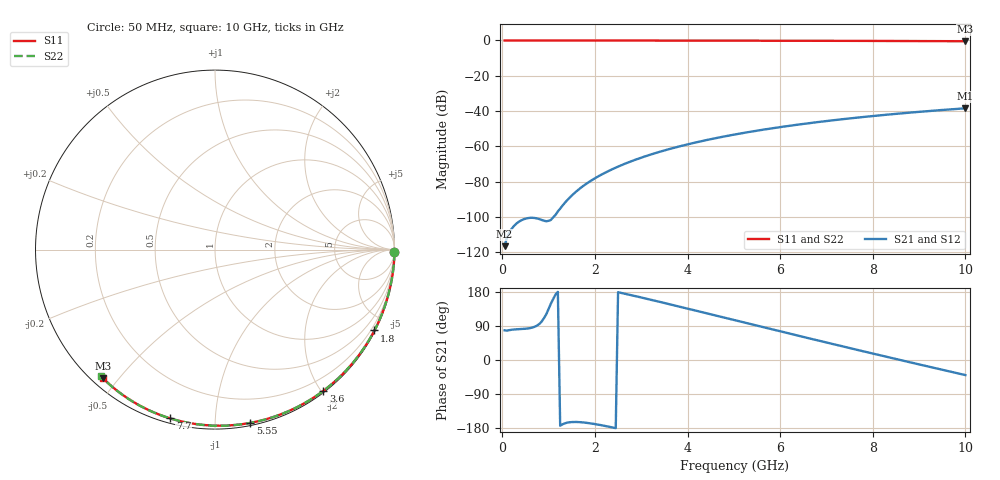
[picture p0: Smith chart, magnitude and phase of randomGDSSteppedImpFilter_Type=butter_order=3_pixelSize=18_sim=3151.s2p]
! freq	dB(S11)	phase(S11)	dB(S12)	phase(S12)
!  dB(S21)	phase(S21)	dB(S22)	phase(S22)
!S-par simulation data
#  GHz  S  DB  R 50
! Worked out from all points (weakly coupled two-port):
!   200 points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, 50 MHz to 10 GHz, reference 50 ohm
!   highest |S21| = -38.38 dB at 10 GHz (marker M1); lowest = -116.4 dB at 50 MHz (marker M2)
!   lowest |S11| = -0.4 dB at 10 GHz (marker M3), VSWR 39.09, Z = 1.54 - j22.7 ohm
!   |S11| at or under -10 dB: nowhere
!   |S22| runs from -0.4 to 0.0 dB; largest |S21 - S12| = 0
!   S11 on the Smith chart (normalised r, x): 50 MHz: open; 1.8 GHz: 0.04, -4.18; 3.6 GHz: 0.02, -2.02; 5.55 GHz: 0.02, -1.22; 7.7 GHz: 0.02, -0.77; 10 GHz: 0.03, -0.45
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0.05  -0.00 -0.8  -116.42 78.3  -116.42 78.3  -0.00 -0.8
0.9  -0.02 -13.6  -102.03 110.6  -102.03 110.6  -0.02 -13.7
1.75  -0.03 -26.1  -82.30 -164.8  -82.30 -164.8  -0.03 -26.3
1.8  -0.03 -26.9  -81.37 -165.5  -81.37 -165.5  -0.03 -27.1
1.85  -0.04 -27.6  -80.48 -166.3  -80.48 -166.3  -0.04 -27.8
1.9  -0.04 -28.3  -79.62 -167.1  -79.62 -167.1  -0.04 -28.5
2.05  -0.04 -30.5  -77.25 -170.1  -77.25 -170.1  -0.04 -30.7
2.25  -0.04 -33.4  -74.44 -174.8  -74.44 -174.8  -0.04 -33.7
2.45  -0.05 -36.3  -71.97 -179.8  -71.97 -179.8  -0.05 -36.6
2.65  -0.05 -39.2  -69.75 174.8  -69.75 174.8  -0.05 -39.5
3  -0.06 -44.2  -66.34 165.0  -66.34 165.0  -0.06 -44.5
3.4  -0.07 -49.8  -63.00 153.4  -63.00 153.4  -0.07 -50.1
3.6  -0.07 -52.6  -61.51 147.5  -61.51 147.5  -0.07 -52.9
4.3  -0.09 -62.1  -57.00 126.6  -57.00 126.6  -0.09 -62.5
5.05  -0.11 -72.1  -53.08 104.1  -53.08 104.1  -0.11 -72.5
5.55  -0.13 -78.5  -50.84 89.1  -50.84 89.1  -0.13 -79.0
6.1  -0.15 -85.5  -48.67 72.7  -48.67 72.7  -0.15 -86.0
6.7  -0.18 -92.9  -46.56 55.0  -46.56 55.0  -0.18 -93.5
7.7  -0.24 -104.9  -43.57 25.7  -43.57 25.7  -0.24 -105.5
8.35  -0.29 -112.4  -41.90 6.9  -41.90 6.9  -0.29 -113.2
9.15  -0.36 -121.6  -40.08 -15.9  -40.08 -15.9  -0.36 -122.4
10  -0.44 -131.2  -38.38 -39.8  -38.38 -39.8  -0.45 -132.1
